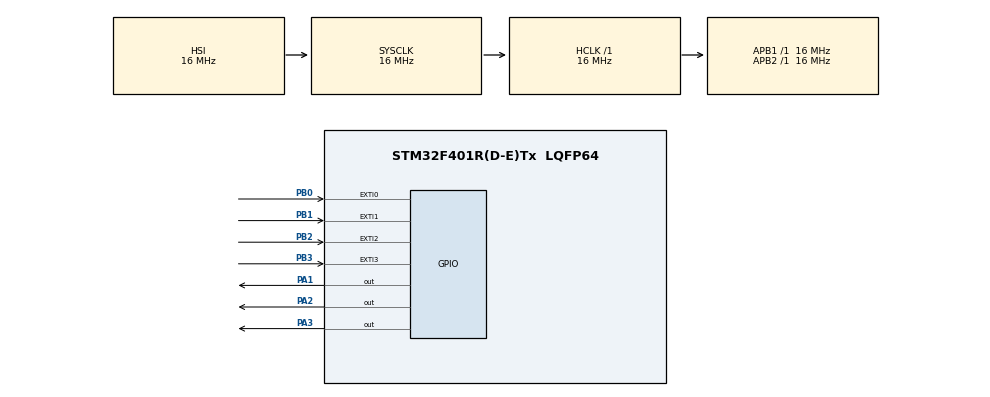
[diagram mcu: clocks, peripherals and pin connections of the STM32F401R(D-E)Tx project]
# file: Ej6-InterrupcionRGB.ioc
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Mcu.Family=STM32F4
Mcu.Name=STM32F401R(D-E)Tx
Mcu.Package=LQFP64
NVIC.EXTI0_IRQn=true\:0\:0\:false\:false\:true\:true\:true
NVIC.EXTI1_IRQn=true\:0\:0\:false\:false\:true\:true\:true
NVIC.EXTI2_IRQn=true\:0\:0\:false\:false\:true\:true\:true
NVIC.EXTI3_IRQn=true\:0\:0\:false\:false\:true\:true\:true
NVIC.PriorityGroup=NVIC_PRIORITYGROUP_4
PA1.Signal=GPIO_Output
PA2.Signal=GPIO_Output
PA3.Signal=GPIO_Output
PB0.GPIO_PuPd=GPIO_PULLDOWN
PB0.Signal=GPXTI0
PB1.GPIO_PuPd=GPIO_PULLDOWN
PB1.Signal=GPXTI1
PB2.GPIO_PuPd=GPIO_PULLDOWN
PB2.Signal=GPXTI2
PB3.GPIO_PuPd=GPIO_PULLDOWN
PB3.Signal=GPXTI3
ProjectManager.HeapSize=0x200
ProjectManager.StackSize=0x400
ProjectManager.TargetToolchain=STM32CubeIDE
RCC.AHBFreq_Value=16000000
RCC.APB1Freq_Value=16000000
RCC.APB2Freq_Value=16000000
RCC.CortexFreq_Value=16000000
RCC.HSE_VALUE=25000000
RCC.HSI_VALUE=16000000
RCC.LSE_VALUE=32768
RCC.SYSCLKFreq_VALUE=16000000
RCC.VCOOutputFreq_Value=192000000
board=custom

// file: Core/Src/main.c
/* USER CODE BEGIN Header */
/**
  ******************************************************************************
  * @file           : main.c
  * @brief          : Main program body
  ******************************************************************************
  * @attention
  *
  * Copyright (c) 2022 STMicroelectronics.
  * All rights reserved.
  *
  * This software is licensed under terms that can be found in the LICENSE file
  * in the root directory of this software component.
  * If no LICENSE file comes with this software, it is provided AS-IS.
  *
  ******************************************************************************
  */
/* USER CODE END Header */
#include "main.h"
#include "gpio.h"

void SystemClock_Config(void);

int main(void)
{

  /* MCU Configuration--------------------------------------------------------*/

  /* Reset of all peripherals, Initializes the Flash interface and the Systick. */
  HAL_Init();

  /* Configure the system clock */
  SystemClock_Config();

  /* Initialize all configured peripherals */
  MX_GPIO_Init();

  /* Infinite loop */
  while (1)
  {

  }
}

void SystemClock_Config(void)
{
  RCC_OscInitTypeDef RCC_OscInitStruct = {0};
  RCC_ClkInitTypeDef RCC_ClkInitStruct = {0};

  /** Configure the main internal regulator output voltage
  */
  __HAL_RCC_PWR_CLK_ENABLE();
  __HAL_PWR_VOLTAGESCALING_CONFIG(PWR_REGULATOR_VOLTAGE_SCALE2);
  /** Initializes the RCC Oscillators according to the specified parameters
  * in the RCC_OscInitTypeDef structure.
  */
  RCC_OscInitStruct.OscillatorType = RCC_OSCILLATORTYPE_HSI;
  RCC_OscInitStruct.HSIState = RCC_HSI_ON;
  RCC_OscInitStruct.HSICalibrationValue = RCC_HSICALIBRATION_DEFAULT;
  RCC_OscInitStruct.PLL.PLLState = RCC_PLL_NONE;
  if (HAL_RCC_OscConfig(&RCC_OscInitStruct) != HAL_OK)
  {
    Error_Handler();
  }
  /** Initializes the CPU, AHB and APB buses clocks
  */
  RCC_ClkInitStruct.ClockType = RCC_CLOCKTYPE_HCLK|RCC_CLOCKTYPE_SYSCLK
                              |RCC_CLOCKTYPE_PCLK1|RCC_CLOCKTYPE_PCLK2;
  RCC_ClkInitStruct.SYSCLKSource = RCC_SYSCLKSOURCE_HSI;
  RCC_ClkInitStruct.AHBCLKDivider = RCC_SYSCLK_DIV1;
  RCC_ClkInitStruct.APB1CLKDivider = RCC_HCLK_DIV1;
  RCC_ClkInitStruct.APB2CLKDivider = RCC_HCLK_DIV1;

  if (HAL_RCC_ClockConfig(&RCC_ClkInitStruct, FLASH_LATENCY_0) != HAL_OK)
  {
    Error_Handler();
  }
}

/* USER CODE BEGIN 4 */
void HAL_GPIO_EXTI_Callback(uint16_t GPIO_Pin)
{
	switch(GPIO_Pin)
	{
		case GPIO_PIN_0:
			HAL_GPIO_WritePin(GPIOA, GPIO_PIN_1, 1);
			HAL_GPIO_WritePin(GPIOA, GPIO_PIN_2, 0);
			HAL_GPIO_WritePin(GPIOA, GPIO_PIN_3, 0);
			break;
		case GPIO_PIN_1:
			HAL_GPIO_WritePin(GPIOA, GPIO_PIN_1, 0);
			HAL_GPIO_WritePin(GPIOA, GPIO_PIN_2, 1);
			HAL_GPIO_WritePin(GPIOA, GPIO_PIN_3, 0);
			break;
		case GPIO_PIN_2:
			HAL_GPIO_WritePin(GPIOA, GPIO_PIN_1, 0);
			HAL_GPIO_WritePin(GPIOA, GPIO_PIN_2, 0);
			HAL_GPIO_WritePin(GPIOA, GPIO_PIN_3, 1);
			break;
		case GPIO_PIN_3:
			HAL_GPIO_WritePin(GPIOA, GPIO_PIN_1, 1);
			HAL_GPIO_WritePin(GPIOA, GPIO_PIN_2, 1);
			HAL_GPIO_WritePin(GPIOA, GPIO_PIN_3, 1);
			break;
		default:
			break;
	}

}
/* USER CODE END 4 */

void Error_Handler(void)
{
  __disable_irq();
  while (1)
  {
  }
}
